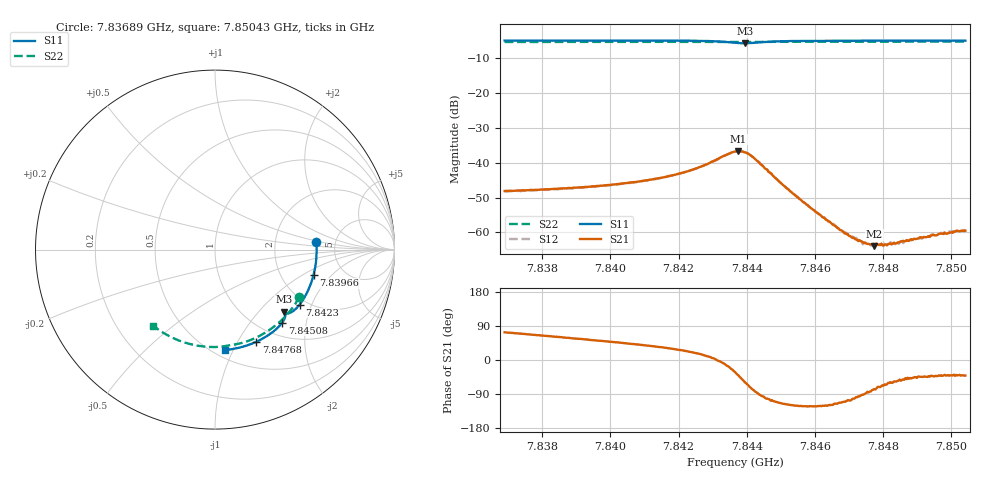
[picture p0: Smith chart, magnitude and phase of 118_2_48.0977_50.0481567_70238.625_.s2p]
#  HZ  S  RI  R  50.00
! Rohde & Schwarz Vector Network Analyzer
! Rohde-Schwarz,ZNB20-2Port,1311601062101988,3.16
! Created: UTC 12/23/2023, 3:46:28 AM
! freq[Hz]  re:S11  im:S11  re:S21  im:S21  re:S12  im:S12  re:S22  im:S22
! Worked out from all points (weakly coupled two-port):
!   401 points, 7.83689 GHz to 7.85043 GHz, reference 50 ohm
!   highest |S21| = -36.64 dB at 7.84376 GHz (marker M1); lowest = -63.9 dB at 7.84775 GHz (marker M2)
!   lowest |S11| = -5.7 dB at 7.84396 GHz (marker M3), VSWR 3.14, Z = 73.3 - j69.2 ohm
!   |S11| at or under -10 dB: nowhere
!   |S22| runs from -5.4 to -5.3 dB; largest |S21 - S12| = 0.0003
!   S11 on the Smith chart (normalised r, x): 7.83689 GHz: 3.55, +0.45; 7.83966 GHz: 3.04, -1.26; 7.8423 GHz: 1.84, -1.64; 7.84508 GHz: 1.24, -1.46; 7.84768 GHz: 0.80, -1.20; 7.85043 GHz: 0.56, -0.93
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7.83689e9  0.5645 0.0428  0.00115 0.00376  0.00115 0.0037  0.4708 -0.2634
7.839157e9  0.5567 -0.1075  0.00252 0.00365  0.00252 0.00362  0.3748 -0.3893
7.839665e9  0.5493 -0.1408  0.00293 0.0036  0.00289 0.00363  0.3484 -0.4132
7.841424e9  0.506 -0.2527  0.00498 0.00338  0.00492 0.00338  0.246 -0.4819
7.842304e9  0.4721 -0.3059  0.00711 0.00287  0.00704 0.0029  0.1895 -0.507
7.843184e9  0.4211 -0.3509  0.0115 -0.000513  0.0115 -0.000352  0.1303 -0.5244
7.843658e9  0.3878 -0.3536  0.0123 -0.00763  0.0121 -0.00755  0.0985 -0.5301
7.843759e9  0.384 -0.3507  0.0112 -0.00959  0.011 -0.00948  0.092 -0.531
7.843962e9  0.3835 -0.346  0.00707 -0.0122  0.00731 -0.012  0.0792 -0.5333
7.844301e9  0.3913 -0.356  0.000729 -0.0107  0.000667 -0.0108  0.0572 -0.5374
7.845079e9  0.3741 -0.4073  -0.00205 -0.00428  -0.00202 -0.0043  0.00276 -0.5425
7.845925e9  0.3319 -0.451  -0.00117 -0.00184  -0.00116 -0.00187  -0.0569 -0.5407
7.846399e9  0.3056 -0.471  -0.000721 -0.00126  -0.000703 -0.00126  -0.09 -0.5364
7.847075e9  0.2663 -0.4954  -0.000232 -0.000829  -0.000214 -0.00089  -0.1367 -0.5269
7.847448e9  0.244 -0.5072  -9.06e-06 -0.000708  1.49e-06 -0.000713  -0.1619 -0.5201
7.847685e9  0.2294 -0.5138  0.000123 -0.000666  0.000142 -0.000645  -0.1777 -0.515
7.847752e9  0.2254 -0.5158  0.000144 -0.00062  0.000164 -0.000635  -0.1823 -0.5134
7.848192e9  0.198 -0.5271  0.000336 -0.000598  0.000337 -0.000601  -0.2109 -0.5024
7.848531e9  0.1767 -0.5345  0.00043 -0.000605  0.000459 -0.000581  -0.2328 -0.493
7.849512e9  0.1134 -0.5512  0.000669 -0.000632  0.000674 -0.000608  -0.2933 -0.4604
7.850155e9  0.0712 -0.558  0.000814 -0.00067  0.000775 -0.00067  -0.3305 -0.4348
7.850425e9  0.0532 -0.56  0.000798 -0.000694  0.000813 -0.000699  -0.3455 -0.4231
